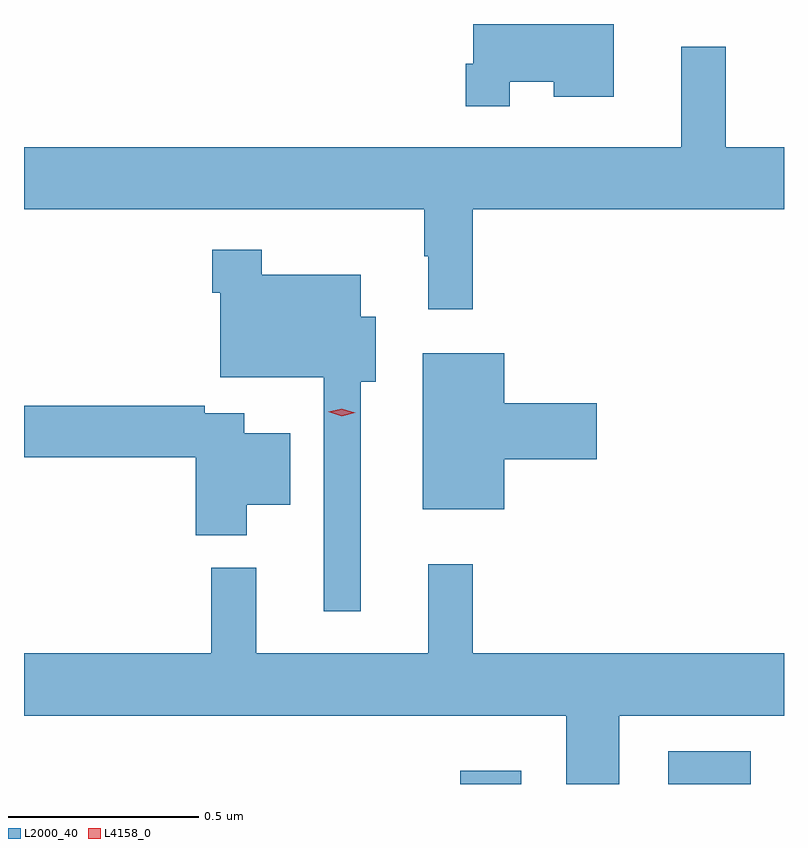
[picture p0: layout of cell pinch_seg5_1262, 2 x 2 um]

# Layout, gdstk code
import gdstk
lib = gdstk.Library(unit=1e-6, precision=1e-09)
def R(c, l, rs):  # rectangles x0, y0, x1, y1
    for r in rs: c.add(gdstk.rectangle(r[:2], r[2:], *l))
def P(c, l, *ps):  # polygons
    for p in ps: c.add(gdstk.Polygon(p, *l))
L2000_40 = (2000, 40)
L4158_0 = (4158, 0)

pinch_seg5_1262 = lib.new_cell('pinch_seg5_1262')
R(pinch_seg5_1262, L2000_40, [(444.872,880.556,445.033,880.591), (445.419,880.556,445.636,880.642)])
P(pinch_seg5_1262, L2000_40, [(445.002,882.404),(445.118,882.404),(445.118,882.365),(445.276,882.365),(445.276,882.556),(444.906,882.556),(444.906,882.451),(444.886,882.451),(444.886,882.339),(445.002,882.339)],
  [(444.905,882.068),(445.724,882.068),(445.724,882.232),(445.571,882.232),(445.571,882.496),(445.454,882.496),(445.454,882.232),(443.724,882.232),(443.724,882.068),(444.777,882.068),(444.777,881.945),(444.788,881.945),(444.788,881.805),(444.905,881.805)],
  [(444.61,881.615),(444.649,881.615),(444.649,881.785),(444.61,881.785),(444.61,881.896),(444.349,881.896),(444.349,881.962),(444.22,881.962),(444.22,881.849),(444.24,881.849),(444.24,881.627),(444.513,881.627),(444.513,881.01),(444.61,881.01)],
  [(444.988,881.411),(445.231,881.411),(445.231,881.558),(444.988,881.558),(444.988,881.689),(444.773,881.689),(444.773,881.279),(444.988,881.279)],
  [(444.31,881.291),(444.424,881.291),(444.424,881.479),(444.304,881.479),(444.304,881.532),(444.2,881.532),(444.2,881.552),(443.724,881.552),(443.724,881.416),(444.176,881.416),(444.176,881.21),(444.31,881.21)],
  [(445.291,880.736),(445.724,880.736),(445.724,880.9),(444.905,880.9),(444.905,881.134),(444.788,881.134),(444.788,880.9),(444.335,880.9),(444.335,881.125),(444.217,881.125),(444.217,880.9),(443.724,880.9),(443.724,880.736),(445.151,880.736),(445.151,880.556),(445.291,880.556)])
P(pinch_seg5_1262, L4158_0, [(444.56,881.524),(444.525,881.535),(444.524,881.536),(444.525,881.536),(444.56,881.544),(444.596,881.533),(444.596,881.533),(444.596,881.533)])

lib.write_gds('pinch_seg5_1262.gds')
